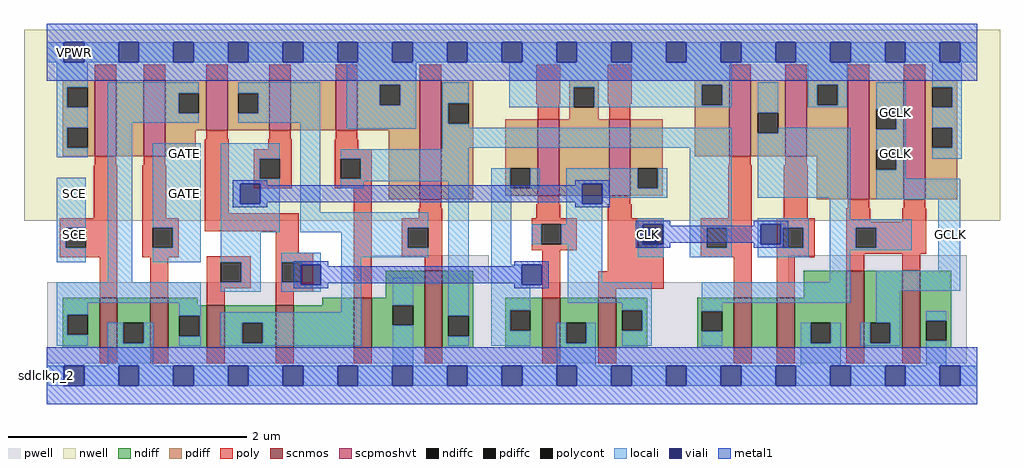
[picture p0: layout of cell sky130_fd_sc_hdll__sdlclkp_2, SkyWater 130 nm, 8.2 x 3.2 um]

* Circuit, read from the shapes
.subckt sky130_fd_sc_hdll__sdlclkp_2 CLK GATE SCE VGND VNB VPB VPWR GCLK
XM1 VGND SCE n1 VNB sky130_fd_pr__nfet_01v8 w=0.42 l=0.15
XM2 n1 GATE VGND VNB sky130_fd_pr__nfet_01v8 w=0.42 l=0.15
XM3 n2 n3 n1 VNB sky130_fd_pr__nfet_01v8 w=0.36 l=0.15
XM4 n4 n5 n2 VNB sky130_fd_pr__nfet_01v8 w=0.36 l=0.15
XM5 VGND n6 n4 VNB sky130_fd_pr__nfet_01v8 w=0.42 l=0.15
XM6 n6 n2 VGND VNB sky130_fd_pr__nfet_01v8 w=0.65 l=0.15
XM7 VGND n3 n5 VNB sky130_fd_pr__nfet_01v8 w=0.42 l=0.15
XM8 n3 CLK VGND VNB sky130_fd_pr__nfet_01v8 w=0.42 l=0.15
XM9 n7 n6 n8 VNB sky130_fd_pr__nfet_01v8 w=0.42 l=0.15
XM10 VGND CLK n7 VNB sky130_fd_pr__nfet_01v8 w=0.42 l=0.15
XM11 GCLK n8 VGND VNB sky130_fd_pr__nfet_01v8 w=0.65 l=0.15 m=2
XM12 n9 SCE VPWR VPB sky130_fd_pr__pfet_01v8_hvt w=0.64 l=0.18
XM13 n1 GATE n9 VPB sky130_fd_pr__pfet_01v8_hvt w=0.64 l=0.18
XM14 n2 n5 n1 VPB sky130_fd_pr__pfet_01v8_hvt w=0.42 l=0.18
XM15 n10 n3 n2 VPB sky130_fd_pr__pfet_01v8_hvt w=0.42 l=0.18
XM16 VPWR n6 n10 VPB sky130_fd_pr__pfet_01v8_hvt w=0.42 l=0.18
XM17 n6 n2 VPWR VPB sky130_fd_pr__pfet_01v8_hvt w=1 l=0.18
XM18 VPWR n3 n5 VPB sky130_fd_pr__pfet_01v8_hvt w=0.64 l=0.18
XM19 n3 CLK VPWR VPB sky130_fd_pr__pfet_01v8_hvt w=0.64 l=0.18
XM20 n8 n6 VPWR VPB sky130_fd_pr__pfet_01v8_hvt w=0.64 l=0.18
XM21 VPWR CLK n8 VPB sky130_fd_pr__pfet_01v8_hvt w=0.64 l=0.18
XM22 GCLK n8 VPWR VPB sky130_fd_pr__pfet_01v8_hvt w=1 l=0.18 m=2
.ends

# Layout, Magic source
magic
tech sky130A
magscale 1 2
<< nwell >>
rect -38 261 1602 582
<< pwell >>
rect 544 157 743 203
rect 1246 157 1546 203
rect 1 21 1546 157
rect 30 -17 64 21
<< scnmos >>
rect 89 47 119 131
rect 174 47 204 131
rect 269 47 299 119
rect 385 47 415 119
rect 516 47 546 131
rect 635 47 665 177
rect 833 47 863 131
rect 927 47 957 131
rect 1155 47 1185 131
rect 1227 47 1257 131
rect 1344 47 1374 177
rect 1438 47 1468 177
<< scpmoshvt >>
rect 81 369 117 497
rect 163 369 199 497
rect 268 413 304 497
rect 374 413 410 497
rect 486 413 522 497
rect 627 297 663 497
rect 825 303 861 431
rect 945 303 981 431
rect 1147 369 1183 497
rect 1241 369 1277 497
rect 1346 297 1382 497
rect 1440 297 1476 497
<< ndiff >>
rect 27 103 89 131
rect 27 69 35 103
rect 69 69 89 103
rect 27 47 89 69
rect 119 89 174 131
rect 119 55 129 89
rect 163 55 174 89
rect 119 47 174 55
rect 204 119 254 131
rect 570 131 635 177
rect 463 119 516 131
rect 204 101 269 119
rect 204 67 223 101
rect 257 67 269 101
rect 204 47 269 67
rect 299 89 385 119
rect 299 55 329 89
rect 363 55 385 89
rect 299 47 385 55
rect 415 47 516 119
rect 546 119 635 131
rect 546 85 582 119
rect 616 85 635 119
rect 546 47 635 85
rect 665 101 717 177
rect 1272 131 1344 177
rect 665 67 675 101
rect 709 67 717 101
rect 665 47 717 67
rect 771 110 833 131
rect 771 76 779 110
rect 813 76 833 110
rect 771 47 833 76
rect 863 89 927 131
rect 863 55 873 89
rect 907 55 927 89
rect 863 47 927 55
rect 957 110 1009 131
rect 957 76 967 110
rect 1001 76 1009 110
rect 957 47 1009 76
rect 1093 109 1155 131
rect 1093 75 1101 109
rect 1135 75 1155 109
rect 1093 47 1155 75
rect 1185 47 1227 131
rect 1257 89 1344 131
rect 1257 55 1284 89
rect 1318 55 1344 89
rect 1257 47 1344 55
rect 1374 89 1438 177
rect 1374 55 1384 89
rect 1418 55 1438 89
rect 1374 47 1438 55
rect 1468 93 1520 177
rect 1468 59 1478 93
rect 1512 59 1520 93
rect 1468 47 1520 59
<< pdiff >>
rect 27 485 81 497
rect 27 451 35 485
rect 69 451 81 485
rect 27 417 81 451
rect 27 383 35 417
rect 69 383 81 417
rect 27 369 81 383
rect 117 369 163 497
rect 199 475 268 497
rect 199 441 222 475
rect 256 441 268 475
rect 199 413 268 441
rect 304 475 374 497
rect 304 441 322 475
rect 356 441 374 475
rect 304 413 374 441
rect 410 413 486 497
rect 522 489 627 497
rect 522 455 560 489
rect 594 455 627 489
rect 522 413 627 455
rect 199 369 251 413
rect 575 297 627 413
rect 663 458 717 497
rect 663 424 675 458
rect 709 424 717 458
rect 878 485 928 497
rect 878 451 886 485
rect 920 451 928 485
rect 1089 489 1147 497
rect 878 431 928 451
rect 1089 455 1101 489
rect 1135 455 1147 489
rect 663 297 717 424
rect 771 349 825 431
rect 771 315 779 349
rect 813 315 825 349
rect 771 303 825 315
rect 861 303 945 431
rect 981 349 1035 431
rect 1089 369 1147 455
rect 1183 442 1241 497
rect 1183 408 1195 442
rect 1229 408 1241 442
rect 1183 369 1241 408
rect 1277 489 1346 497
rect 1277 455 1295 489
rect 1329 455 1346 489
rect 1277 369 1346 455
rect 981 315 993 349
rect 1027 315 1035 349
rect 981 303 1035 315
rect 1294 297 1346 369
rect 1382 448 1440 497
rect 1382 414 1394 448
rect 1428 414 1440 448
rect 1382 380 1440 414
rect 1382 346 1394 380
rect 1428 346 1440 380
rect 1382 297 1440 346
rect 1476 485 1530 497
rect 1476 451 1488 485
rect 1522 451 1530 485
rect 1476 417 1530 451
rect 1476 383 1488 417
rect 1522 383 1530 417
rect 1476 297 1530 383
<< ndiffc >>
rect 35 69 69 103
rect 129 55 163 89
rect 223 67 257 101
rect 329 55 363 89
rect 582 85 616 119
rect 675 67 709 101
rect 779 76 813 110
rect 873 55 907 89
rect 967 76 1001 110
rect 1101 75 1135 109
rect 1284 55 1318 89
rect 1384 55 1418 89
rect 1478 59 1512 93
<< pdiffc >>
rect 35 451 69 485
rect 35 383 69 417
rect 222 441 256 475
rect 322 441 356 475
rect 560 455 594 489
rect 675 424 709 458
rect 886 451 920 485
rect 1101 455 1135 489
rect 779 315 813 349
rect 1195 408 1229 442
rect 1295 455 1329 489
rect 993 315 1027 349
rect 1394 414 1428 448
rect 1394 346 1428 380
rect 1488 451 1522 485
rect 1488 383 1522 417
<< poly >>
rect 81 497 117 523
rect 163 497 199 523
rect 268 497 304 523
rect 374 497 410 523
rect 486 497 522 523
rect 627 497 663 523
rect 268 398 304 413
rect 374 398 410 413
rect 486 398 522 413
rect 81 354 117 369
rect 163 354 199 369
rect 79 265 119 354
rect 22 249 119 265
rect 22 215 32 249
rect 66 215 119 249
rect 22 199 119 215
rect 161 265 201 354
rect 266 273 306 398
rect 372 381 412 398
rect 348 365 412 381
rect 348 331 358 365
rect 392 331 412 365
rect 348 315 412 331
rect 484 381 524 398
rect 484 365 546 381
rect 484 331 494 365
rect 528 331 546 365
rect 484 315 546 331
rect 161 249 222 265
rect 161 215 178 249
rect 212 215 222 249
rect 266 243 424 273
rect 161 199 222 215
rect 385 207 424 243
rect 89 131 119 199
rect 174 131 204 199
rect 269 191 343 201
rect 269 157 293 191
rect 327 157 343 191
rect 269 147 343 157
rect 385 191 448 207
rect 385 157 395 191
rect 429 157 448 191
rect 269 119 299 147
rect 385 141 448 157
rect 385 119 415 141
rect 516 131 546 315
rect 823 457 863 523
rect 825 431 861 457
rect 943 457 983 523
rect 1147 497 1183 523
rect 1241 497 1277 523
rect 1346 497 1382 523
rect 1440 497 1476 523
rect 945 431 981 457
rect 1147 354 1183 369
rect 1241 354 1277 369
rect 627 282 663 297
rect 825 288 861 303
rect 945 288 981 303
rect 625 265 665 282
rect 823 265 863 288
rect 943 265 983 288
rect 1145 265 1185 354
rect 1239 265 1279 354
rect 1346 282 1382 297
rect 1440 282 1476 297
rect 597 249 665 265
rect 597 215 607 249
rect 641 215 665 249
rect 597 199 665 215
rect 815 255 891 265
rect 815 221 831 255
rect 865 221 891 255
rect 815 211 891 221
rect 943 249 1037 265
rect 943 215 993 249
rect 1027 215 1037 249
rect 635 177 665 199
rect 833 131 863 211
rect 943 176 1037 215
rect 1099 249 1185 265
rect 1099 215 1109 249
rect 1143 215 1185 249
rect 1099 199 1185 215
rect 927 146 1037 176
rect 927 131 957 146
rect 1155 131 1185 199
rect 1227 249 1291 265
rect 1227 215 1237 249
rect 1271 215 1291 249
rect 1227 199 1291 215
rect 1344 259 1384 282
rect 1438 259 1478 282
rect 1344 249 1478 259
rect 1344 215 1360 249
rect 1394 215 1478 249
rect 1344 205 1478 215
rect 1227 131 1257 199
rect 1344 177 1374 205
rect 1438 177 1468 205
rect 89 21 119 47
rect 174 21 204 47
rect 269 21 299 47
rect 385 21 415 47
rect 516 21 546 47
rect 635 21 665 47
rect 833 21 863 47
rect 927 21 957 47
rect 1155 21 1185 47
rect 1227 21 1257 47
rect 1344 21 1374 47
rect 1438 21 1468 47
<< polycont >>
rect 32 215 66 249
rect 358 331 392 365
rect 494 331 528 365
rect 178 215 212 249
rect 293 157 327 191
rect 395 157 429 191
rect 607 215 641 249
rect 831 221 865 255
rect 993 215 1027 249
rect 1109 215 1143 249
rect 1237 215 1271 249
rect 1360 215 1394 249
<< locali >>
rect 0 527 29 561
rect 63 527 121 561
rect 155 527 213 561
rect 247 527 305 561
rect 339 527 397 561
rect 431 527 489 561
rect 523 527 581 561
rect 615 527 673 561
rect 707 527 765 561
rect 799 527 857 561
rect 891 527 949 561
rect 983 527 1041 561
rect 1075 527 1133 561
rect 1167 527 1225 561
rect 1259 527 1317 561
rect 1351 527 1409 561
rect 1443 527 1501 561
rect 1535 527 1564 561
rect 17 485 69 527
rect 17 451 35 485
rect 17 417 69 451
rect 17 383 35 417
rect 17 367 69 383
rect 103 475 256 493
rect 103 441 222 475
rect 103 425 256 441
rect 322 475 460 493
rect 356 441 460 475
rect 322 425 460 441
rect 17 249 66 333
rect 17 215 32 249
rect 17 191 66 215
rect 103 157 144 425
rect 178 249 259 391
rect 212 215 259 249
rect 178 191 259 215
rect 293 365 392 391
rect 293 331 358 365
rect 293 323 392 331
rect 293 289 325 323
rect 359 289 392 323
rect 293 241 392 289
rect 426 275 460 425
rect 504 489 621 527
rect 504 455 560 489
rect 594 455 621 489
rect 504 415 621 455
rect 665 458 709 493
rect 665 424 675 458
rect 777 489 1151 527
rect 777 485 1101 489
rect 777 451 886 485
rect 920 455 1101 485
rect 1135 455 1151 489
rect 920 451 1151 455
rect 665 417 709 424
rect 1195 442 1229 493
rect 1279 489 1345 527
rect 1279 455 1295 489
rect 1329 455 1345 489
rect 1279 451 1345 455
rect 665 383 1151 417
rect 665 381 709 383
rect 494 365 709 381
rect 528 331 709 365
rect 494 327 709 331
rect 494 315 533 327
rect 426 249 641 275
rect 426 241 607 249
rect 293 191 360 241
rect 495 215 607 241
rect 327 157 360 191
rect 17 123 259 157
rect 293 141 360 157
rect 394 191 461 207
rect 394 157 395 191
rect 429 187 461 191
rect 394 153 427 157
rect 394 141 461 153
rect 495 199 641 215
rect 17 103 69 123
rect 17 69 35 103
rect 223 101 259 123
rect 495 107 529 199
rect 17 51 69 69
rect 103 55 129 89
rect 163 55 179 89
rect 103 17 179 55
rect 257 67 259 101
rect 223 51 259 67
rect 293 89 529 107
rect 293 55 329 89
rect 363 55 529 89
rect 293 51 529 55
rect 582 119 616 165
rect 582 17 616 85
rect 675 101 709 327
rect 675 51 709 67
rect 747 315 779 349
rect 813 315 829 349
rect 873 323 993 349
rect 747 187 781 315
rect 873 289 900 323
rect 934 315 993 323
rect 1027 315 1043 349
rect 934 299 1043 315
rect 873 255 934 289
rect 815 221 831 255
rect 865 221 934 255
rect 747 153 798 187
rect 876 157 934 221
rect 993 255 1037 265
rect 993 249 1002 255
rect 1036 221 1037 255
rect 1027 215 1037 221
rect 993 199 1037 215
rect 1081 249 1151 383
rect 1394 448 1444 493
rect 1229 408 1350 417
rect 1195 299 1350 408
rect 1081 215 1109 249
rect 1143 215 1151 249
rect 1081 199 1151 215
rect 1195 255 1281 265
rect 1195 221 1200 255
rect 1234 249 1281 255
rect 1234 221 1237 249
rect 1195 215 1237 221
rect 1271 215 1281 249
rect 1195 199 1281 215
rect 1316 263 1350 299
rect 1428 414 1444 448
rect 1394 380 1444 414
rect 1428 346 1444 380
rect 1488 485 1538 527
rect 1522 451 1538 485
rect 1488 417 1538 451
rect 1522 383 1538 417
rect 1488 365 1538 383
rect 1394 331 1444 346
rect 1394 297 1535 331
rect 1316 249 1454 263
rect 1316 215 1360 249
rect 1394 215 1454 249
rect 1316 211 1454 215
rect 1316 157 1350 211
rect 1498 177 1535 297
rect 747 110 813 153
rect 876 123 1017 157
rect 747 76 779 110
rect 967 110 1017 123
rect 747 51 813 76
rect 857 55 873 89
rect 907 55 923 89
rect 857 17 923 55
rect 1001 76 1017 110
rect 967 51 1017 76
rect 1101 123 1350 157
rect 1394 143 1535 177
rect 1101 109 1135 123
rect 1394 89 1434 143
rect 1101 51 1135 75
rect 1267 55 1284 89
rect 1318 55 1334 89
rect 1267 17 1334 55
rect 1368 55 1384 89
rect 1418 55 1434 89
rect 1368 51 1434 55
rect 1478 93 1512 109
rect 1478 17 1512 59
rect 0 -17 29 17
rect 63 -17 121 17
rect 155 -17 213 17
rect 247 -17 305 17
rect 339 -17 397 17
rect 431 -17 489 17
rect 523 -17 581 17
rect 615 -17 673 17
rect 707 -17 765 17
rect 799 -17 857 17
rect 891 -17 949 17
rect 983 -17 1041 17
rect 1075 -17 1133 17
rect 1167 -17 1225 17
rect 1259 -17 1317 17
rect 1351 -17 1409 17
rect 1443 -17 1501 17
rect 1535 -17 1564 17
<< viali >>
rect 29 527 63 561
rect 121 527 155 561
rect 213 527 247 561
rect 305 527 339 561
rect 397 527 431 561
rect 489 527 523 561
rect 581 527 615 561
rect 673 527 707 561
rect 765 527 799 561
rect 857 527 891 561
rect 949 527 983 561
rect 1041 527 1075 561
rect 1133 527 1167 561
rect 1225 527 1259 561
rect 1317 527 1351 561
rect 1409 527 1443 561
rect 1501 527 1535 561
rect 325 289 359 323
rect 427 157 429 187
rect 429 157 461 187
rect 427 153 461 157
rect 900 289 934 323
rect 798 153 832 187
rect 1002 249 1036 255
rect 1002 221 1027 249
rect 1027 221 1036 249
rect 1200 221 1234 255
rect 29 -17 63 17
rect 121 -17 155 17
rect 213 -17 247 17
rect 305 -17 339 17
rect 397 -17 431 17
rect 489 -17 523 17
rect 581 -17 615 17
rect 673 -17 707 17
rect 765 -17 799 17
rect 857 -17 891 17
rect 949 -17 983 17
rect 1041 -17 1075 17
rect 1133 -17 1167 17
rect 1225 -17 1259 17
rect 1317 -17 1351 17
rect 1409 -17 1443 17
rect 1501 -17 1535 17
<< metal1 >>
rect 0 561 1564 592
rect 0 527 29 561
rect 63 527 121 561
rect 155 527 213 561
rect 247 527 305 561
rect 339 527 397 561
rect 431 527 489 561
rect 523 527 581 561
rect 615 527 673 561
rect 707 527 765 561
rect 799 527 857 561
rect 891 527 949 561
rect 983 527 1041 561
rect 1075 527 1133 561
rect 1167 527 1225 561
rect 1259 527 1317 561
rect 1351 527 1409 561
rect 1443 527 1501 561
rect 1535 527 1564 561
rect 0 496 1564 527
rect 313 323 371 329
rect 313 289 325 323
rect 359 320 371 323
rect 888 323 946 329
rect 888 320 900 323
rect 359 292 900 320
rect 359 289 371 292
rect 313 283 371 289
rect 888 289 900 292
rect 934 289 946 323
rect 888 283 946 289
rect 990 255 1048 261
rect 990 221 1002 255
rect 1036 252 1048 255
rect 1188 255 1246 261
rect 1188 252 1200 255
rect 1036 224 1200 252
rect 1036 221 1048 224
rect 990 215 1048 221
rect 1188 221 1200 224
rect 1234 221 1246 255
rect 1188 215 1246 221
rect 415 187 473 193
rect 415 153 427 187
rect 461 184 473 187
rect 786 187 844 193
rect 786 184 798 187
rect 461 156 798 184
rect 461 153 473 156
rect 415 147 473 153
rect 786 153 798 156
rect 832 153 844 187
rect 786 147 844 153
rect 0 17 1564 48
rect 0 -17 29 17
rect 63 -17 121 17
rect 155 -17 213 17
rect 247 -17 305 17
rect 339 -17 397 17
rect 431 -17 489 17
rect 523 -17 581 17
rect 615 -17 673 17
rect 707 -17 765 17
rect 799 -17 857 17
rect 891 -17 949 17
rect 983 -17 1041 17
rect 1075 -17 1133 17
rect 1167 -17 1225 17
rect 1259 -17 1317 17
rect 1351 -17 1409 17
rect 1443 -17 1501 17
rect 1535 -17 1564 17
rect 0 -48 1564 -17
<< labels >>
rlabel comment s 0 0 0 0 4 sdlclkp_2
flabel metal1 s 994 221 1028 255 0 FreeSans 200 0 0 0 CLK
port 1 nsew signal input
flabel metal1 s 30 527 64 561 0 FreeSans 200 0 0 0 VPWR
port 7 nsew power bidirectional
flabel metal1 s 30 -17 64 17 0 FreeSans 200 0 0 0 VGND
port 4 nsew ground bidirectional
flabel locali s 1501 221 1535 255 0 FreeSans 200 0 0 0 GCLK
port 8 nsew signal output
flabel locali s 30 221 64 255 0 FreeSans 200 0 0 0 SCE
port 3 nsew signal input
flabel locali s 214 289 248 323 0 FreeSans 200 0 0 0 GATE
port 2 nsew signal input
flabel locali s 214 357 248 391 0 FreeSans 200 0 0 0 GATE
port 2 nsew signal input
flabel locali s 1409 357 1443 391 0 FreeSans 200 0 0 0 GCLK
port 8 nsew signal output
flabel locali s 1409 425 1443 459 0 FreeSans 200 0 0 0 GCLK
port 8 nsew signal output
flabel locali s 30 289 64 323 0 FreeSans 200 0 0 0 SCE
port 3 nsew signal input
flabel nwell s 30 527 64 561 0 FreeSans 200 0 0 0 VPB
port 6 nsew power bidirectional
flabel pwell s 30 -17 64 17 0 FreeSans 200 0 0 0 VNB
port 5 nsew ground bidirectional
<< properties >>
string LEFsite unithd
string LEFclass CORE
string FIXED_BBOX 0 0 1564 544
string GDS_FILE $PDKPATH/libs.ref/sky130_fd_sc_hdll/gds/sky130_fd_sc_hdll.gds
string LEFsymmetry X Y R90
string GDS_END 216652
string GDS_START 204620
string LEFproperties maskLayoutSubType "abstract" prCellType "standard" originalViewName "layout"
<< end >>
